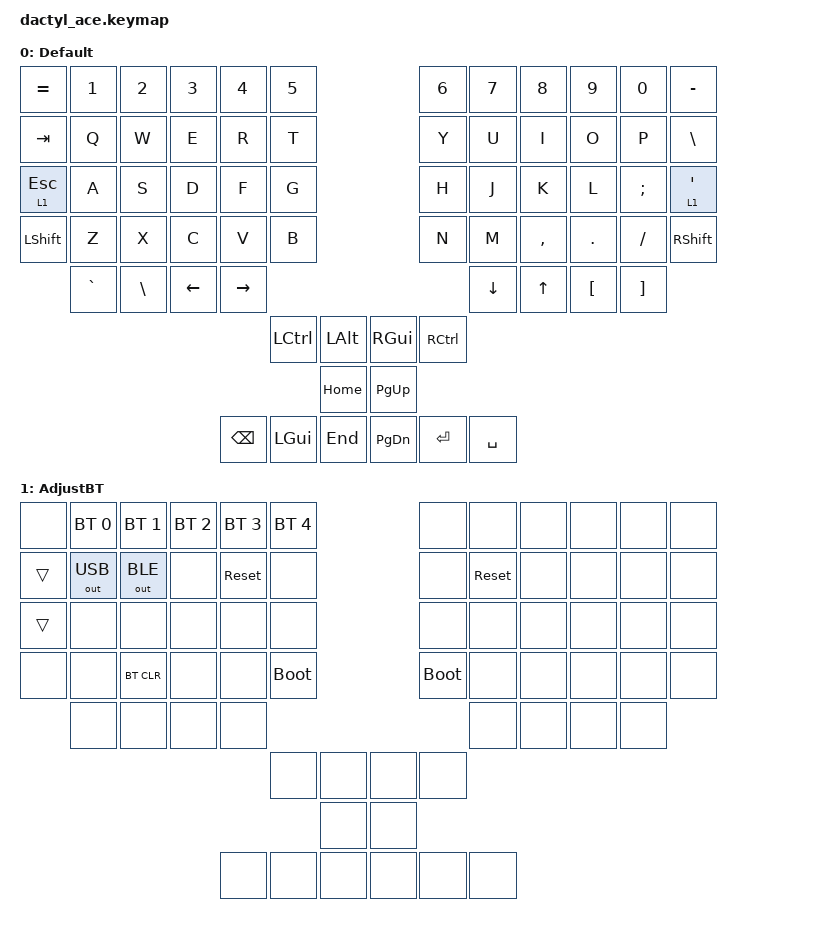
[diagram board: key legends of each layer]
// dactyl_ace.keymap - Specifies the keybindings & layers for both the left & right sides of the keyboard

#include <behaviors.dtsi>
#include <dt-bindings/zmk/bt.h>
#include <dt-bindings/zmk/keys.h>
#include <dt-bindings/zmk/outputs.h>

/{
    keymap {
        compatible = "zmk,keymap";

        // Default layer. 
        // Kinesis layout with a few changes:
        // 1. Capslock replaces with ESC
        // 2. Swapped Up and Down arrows
        // 3. Delete key replaced with Super/Command
        // 4. Added BT Menu Keybind for ESC & SQT (hold key to access Bluetooth/MCU menu)

        default_layer { // Layer 0
            display-name = "Default";
            bindings = <
    &kp EQUAL   &kp N1    &kp N2   &kp N3    &kp N4    &kp N5                          &kp N6    &kp N7    &kp N8    &kp N9    &kp N0   &kp MINUS
    &kp TAB     &kp Q     &kp W    &kp E     &kp R     &kp T                           &kp Y     &kp U     &kp I     &kp O     &kp P    &kp BSLH
    &lt 1 ESC   &kp A     &kp S    &kp D     &kp F     &kp G                           &kp H     &kp J     &kp K     &kp L     &kp SEMI &lt 1 SQT
    &kp LSHFT   &kp Z     &kp X    &kp C     &kp V     &kp B                           &kp N     &kp M     &kp COMMA &kp DOT   &kp FSLH &kp RSHFT
                &kp GRAVE &kp BSLH &kp LEFT  &kp RIGHT                                           &kp DOWN  &kp UP    &kp LBKT  &kp RBKT
                                                       &kp LCTRL &kp LALT    &kp RGUI  &kp RCTRL
                                                                 &kp HOME    &kp PG_UP
                                             &kp BSPC  &kp LGUI  &kp END     &kp PG_DN &kp RET   &kp SPACE
            >;
        };
        
        // Adjust layer. Contains system controls and overlay toggles.
        // Toggled by holding down ESC key
        adjust_bt_layer { // Layer 1
            display-name = "AdjustBT";
            bindings = <
    &none     &bt BT_SEL 0 &bt BT_SEL 1 &bt BT_SEL 2 &bt BT_SEL 3 &bt BT_SEL 4                      &none       &none      &none     &none     &none    &none
    &trans    &out OUT_USB &out OUT_BLE &none        &sys_reset   &none                             &none       &sys_reset &none     &none     &none    &none
    &trans    &none        &none        &none        &none        &none                             &none       &none      &none     &none     &none    &none
    &none     &none        &bt BT_CLR   &none        &none        &bootloader                       &bootloader &none      &none     &none     &none    &none
              &none        &none        &none        &none                                                      &none      &none     &none     &none
                                                                  &none       &none       &none     &none
                                                                              &none       &none
                                                         &none    &none       &none       &none     &none     &none
            >;
        };
    };
};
